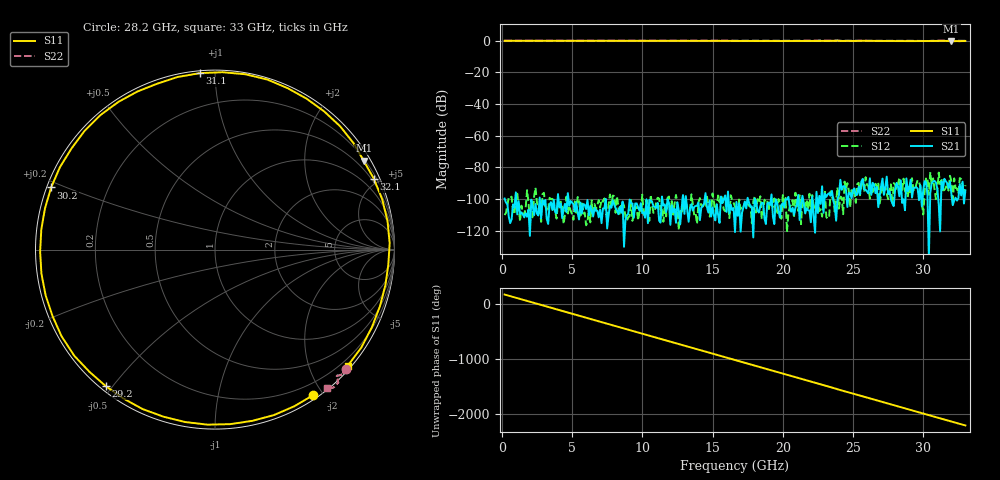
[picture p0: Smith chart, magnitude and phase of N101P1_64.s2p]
# GHZ S RI R 50
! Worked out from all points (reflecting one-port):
!   329 points, 200 MHz to 33 GHz, reference 50 ohm
!   lowest |S11| = -0.3 dB at 32 GHz (marker M1), VSWR 55.97, Z = 12.6 + j180 ohm
!   phase of S11 starts at 165 deg and turns -2367 deg over the sweep
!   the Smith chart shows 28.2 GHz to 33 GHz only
!   S11 on the Smith chart (normalised r, x): 28.2 GHz: 0.05, -1.88; 29.2 GHz: 0.02, -0.48; 30.2 GHz: 0.01, +0.18; 31.1 GHz: 0.01, +0.92; 32.1 GHz: 0.36, +4.67; 33 GHz: 0.07, -2.65
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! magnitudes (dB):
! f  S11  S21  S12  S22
! 200 MHz  0.0  -99.7  -110.2  0.0
! 5.7 GHz  -0.1  -109.1  -101.5  0.0
! 11.2 GHz  -0.1  -113.6  -99.8  -0.1
! 16.6 GHz  -0.1  -120.9  -104.9  0.0
! 22.1 GHz  -0.2  -98.2  -97.5  0.0
! 22.6 GHz  -0.1  -98.0  -107.6  0.2
! 23 GHz  -0.2  -96.6  -94.7  0.0
! 23.3 GHz  -0.2  -96.4  -111.9  0.0
! 23.9 GHz  0.1  -99.9  -92.7  0.1
! 24.1 GHz  -0.2  -87.9  -98.5  0.0
! 24.6 GHz  -0.1  -105.1  -90.0  0.0
! 24.9 GHz  -0.2  -99.5  -93.4  0.0
! 25.5 GHz  0.0  -97.1  -97.6  0.0
! 27.6 GHz  -0.2  -95.2  -94.9  -0.1
! 28.2 GHz  -0.2  -92.1  -90.9  -0.1
! 29.2 GHz  -0.2  -99.1  -86.9  -0.1
! 30.2 GHz  -0.2  -89.3  -86.4  -0.2
! 31.1 GHz  -0.1  -103.0  -83.3  0.0
! 31.8 GHz  -0.2  -93.3  -94.7  0.1
! 32 GHz  -0.3  -96.6  -88.3  0.0
! 32.1 GHz  -0.3  -103.9  -103.2  0.0
! 33 GHz  -0.1  -94.6  -91.3  -0.1
